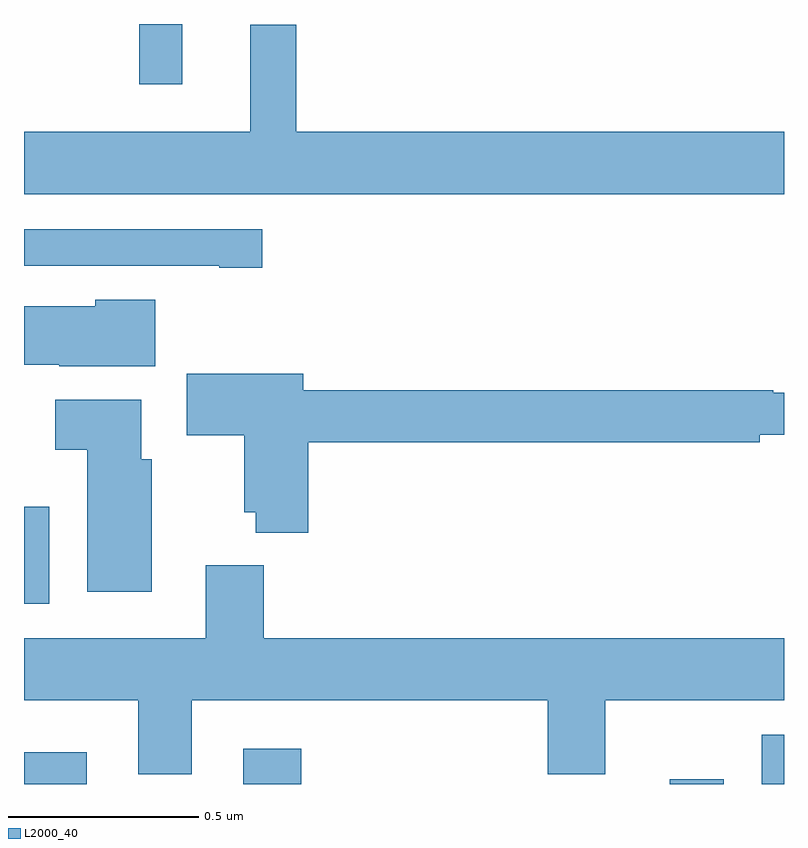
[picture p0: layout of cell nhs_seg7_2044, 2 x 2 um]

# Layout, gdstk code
import gdstk
lib = gdstk.Library(unit=1e-6, precision=1e-09)
def R(c, l, rs):  # rectangles x0, y0, x1, y1
    for r in rs: c.add(gdstk.rectangle(r[:2], r[2:], *l))
def P(c, l, *ps):  # polygons
    for p in ps: c.add(gdstk.Polygon(p, *l))
L2000_40 = (2000, 40)

nhs_seg7_2044 = lib.new_cell('nhs_seg7_2044')
R(nhs_seg7_2044, L2000_40, [(139,1063,139.165,1063.084), (139.577,1063,139.73,1063.093), (140.699,1063,140.842,1063.012), (140.942,1063,141,1063.129), (139,1063.475,139.066,1063.729), (139.303,1064.841,139.417,1065)])
P(nhs_seg7_2044, L2000_40, [(141,1064.716),(139.717,1064.716),(139.717,1064.998),(139.595,1064.998),(139.595,1064.716),(139,1064.716),(139,1064.552),(141,1064.552)],
  [(139.627,1064.46),(139,1064.46),(139,1064.364),(139.514,1064.364),(139.514,1064.359),(139.627,1064.359)],
  [(139.345,1064.275),(139.188,1064.275),(139.188,1064.257),(139.001,1064.257),(139.001,1064.196),(139,1064.196),(139,1064.103),(139.093,1064.103),(139.093,1064.099),(139.345,1064.099)],
  [(139.748,1063.9),(140.936,1063.9),(140.936,1063.919),(141,1063.919),(141,1064.029),(140.972,1064.029),(140.972,1064.036),(139.735,1064.036),(139.735,1064.08),(139.428,1064.08),(139.428,1063.918),(139.58,1063.918),(139.58,1063.715),(139.61,1063.715),(139.61,1063.661),(139.748,1063.661)],
  [(139.336,1063.854),(139.309,1063.854),(139.309,1064.011),(139.082,1064.011),(139.082,1063.88),(139.166,1063.88),(139.166,1063.506),(139.336,1063.506)],
  [(139.441,1063.22),(140.378,1063.22),(140.378,1063.026),(140.53,1063.026),(140.53,1063.22),(141,1063.22),(141,1063.384),(139.631,1063.384),(139.631,1063.576),(139.478,1063.576),(139.478,1063.384),(139,1063.384),(139,1063.22),(139.301,1063.22),(139.301,1063.026),(139.441,1063.026)])

lib.write_gds('nhs_seg7_2044.gds')
